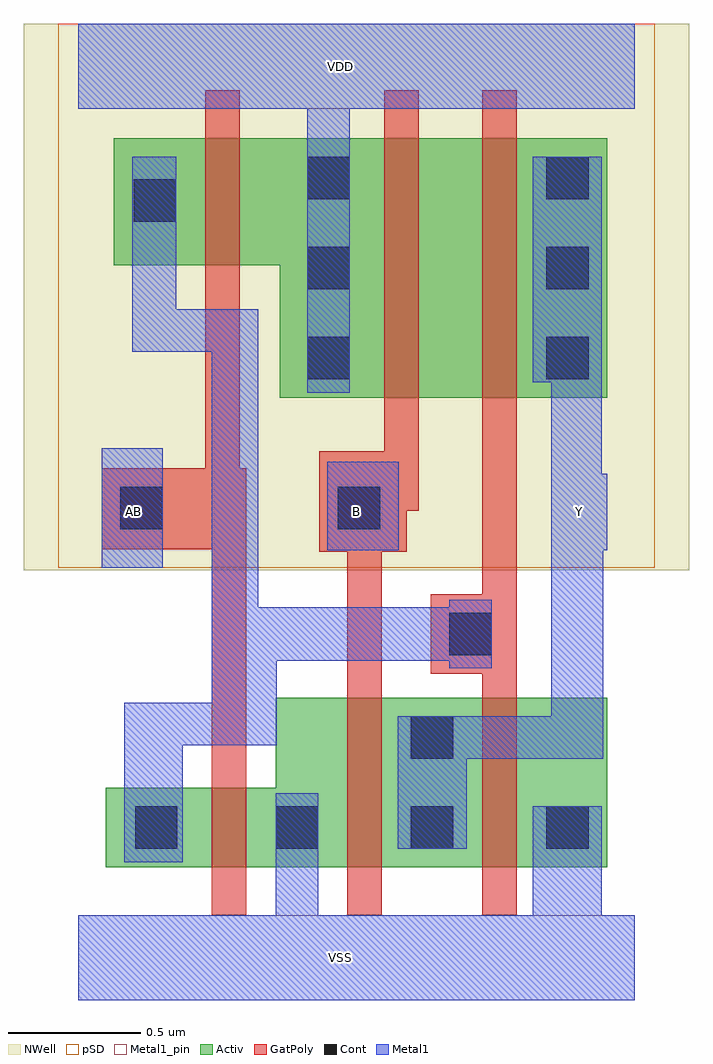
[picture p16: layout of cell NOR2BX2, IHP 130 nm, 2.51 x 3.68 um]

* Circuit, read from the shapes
.subckt NOR2BX2 AB B VDD VSS Y
XM1 VSS AB n1 VSUBS sg13_lv_nmos w=0.3u l=0.13u
XM2 Y B VSS VSUBS sg13_lv_nmos w=0.64u l=0.13u
XM3 VSS n1 Y VSUBS sg13_lv_nmos w=0.64u l=0.13u
XM4 VDD AB n1 n2 sg13_lv_pmos w=0.48u l=0.13u
XM5 n3 B VDD n2 sg13_lv_pmos w=0.98u l=0.13u
XM6 Y n1 n3 n2 sg13_lv_pmos w=0.98u l=0.13u
.ends

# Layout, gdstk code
import gdstk
lib = gdstk.Library(unit=1e-6, precision=1e-09)
def R(c, l, rs):  # rectangles x0, y0, x1, y1
    for r in rs: c.add(gdstk.rectangle(r[:2], r[2:], *l))
def A(c, l, x, y, w, h, nx, ny, dx, dy):  # array of equal rectangles
    R(c, l, [(x+i*dx, y+j*dy, x+i*dx+w, y+j*dy+h) for i in range(nx) for j in range(ny)])
def P(c, l, *ps):  # polygons
    for p in ps: c.add(gdstk.Polygon(p, *l))
Activ = (1, 0)
GatPoly = (5, 0)
Cont = (6, 0)
Metal1 = (8, 0)
Metal1_pin = (8, 2)
pSD = (14, 0)
NWell = (31, 0)

nor2bx2 = lib.new_cell('NOR2BX2')
P(nor2bx2, Activ, [(0.105,0.34),(0.105,0.64),(0.745,0.64),(0.745,0.98),(1.995,0.98),(1.995,0.34)],
  [(0.76,2.11),(0.76,2.61),(0.135,2.61),(0.135,3.09),(1.995,3.09),(1.995,2.11)])
P(nor2bx2, GatPoly, [(1.015,0.16),(1.015,1.53),(0.91,1.53),(0.91,1.91),(1.155,1.91),(1.155,3.27),(1.285,3.27),(1.285,1.685),(1.24,1.685),(1.24,1.53),(1.145,1.53),(1.145,0.16)],
  [(0.505,0.16),(0.505,1.54),(0.09,1.54),(0.09,1.845),(0.48,1.845),(0.48,3.27),(0.61,3.27),(0.61,1.845),(0.635,1.845),(0.635,0.16)],
  [(1.525,0.16),(1.525,1.07),(1.33,1.07),(1.33,1.37),(1.525,1.37),(1.525,3.27),(1.655,3.27),(1.655,0.16)])
A(nor2bx2, Cont, 0.745, 0.41, 0.16, 0.16, 3, 1, 0.51, 0)
A(nor2bx2, Cont, 0.865, 2.18, 0.16, 0.16, 1, 3, 0, 0.34)
A(nor2bx2, Cont, 1.765, 2.18, 0.16, 0.16, 1, 3, 0, 0.34)
R(nor2bx2, Cont, [(0.215,0.41,0.375,0.57), (1.255,0.75,1.415,0.91), (1.4,1.14,1.56,1.3), (0.16,1.615,0.32,1.775), (0.98,1.615,1.14,1.775), (0.21,2.775,0.37,2.935)])
R(nor2bx2, Metal1, [(0.09,1.47,0.32,1.92), (0.94,1.535,1.21,1.87)])
P(nor2bx2, Metal1, [(1.205,0.41),(1.205,0.91),(1.785,0.91),(1.785,2.17),(1.715,2.17),(1.715,3.02),(1.975,3.02),(1.975,1.825),(1.995,1.825),(1.995,1.535),(1.98,1.535),(1.98,0.75),(1.465,0.75),(1.465,0.41)],
  [(0.865,2.13),(0.865,3.2),(0,3.2),(0,3.52),(2.1,3.52),(2.1,3.2),(1.025,3.2),(1.025,2.13)],
  [(0,-0.16),(0,0.16),(0.745,0.16),(0.745,0.62),(0.905,0.62),(0.905,0.16),(1.715,0.16),(1.715,0.57),(1.975,0.57),(1.975,0.16),(2.1,0.16),(2.1,-0.16)],
  [(0.175,0.36),(0.175,0.96),(0.505,0.96),(0.505,2.285),(0.205,2.285),(0.205,3.02),(0.37,3.02),(0.37,2.445),(0.68,2.445),(0.68,1.32),(1.4,1.32),(1.4,1.35),(1.56,1.35),(1.56,1.09),(1.4,1.09),(1.4,1.12),(0.75,1.12),(0.75,0.8),(0.395,0.8),(0.395,0.36)])
R(nor2bx2, Metal1_pin, [(0,-0.16,2.1,0.16), (0.09,1.47,0.32,1.92), (0.94,1.535,1.21,1.87), (1.785,1.535,1.995,1.825), (0,3.2,2.1,3.52)])
P(nor2bx2, Metal1_pin, [(1.205,0.41),(1.205,0.91),(1.785,0.91),(1.785,2.17),(1.715,2.17),(1.715,3.02),(1.975,3.02),(1.975,1.825),(1.995,1.825),(1.995,1.535),(1.98,1.535),(1.98,0.75),(1.465,0.75),(1.465,0.41)])
R(nor2bx2, pSD, [(-0.075,1.47,2.175,3.52)])
R(nor2bx2, NWell, [(-0.205,1.46,2.305,3.52)])
nor2bx2.add(gdstk.Label('Y', (1.89,1.68), layer=8, texttype=25))
nor2bx2.add(gdstk.Label('B', (1.05,1.68), layer=8, texttype=25))
nor2bx2.add(gdstk.Label('AB', (0.21,1.68), layer=8, texttype=25))
nor2bx2.add(gdstk.Label('VSS', (0.99,0), layer=8, texttype=25))
nor2bx2.add(gdstk.Label('VDD', (0.99,3.36), layer=8, texttype=25))

lib.write_gds('NOR2BX2.gds')
